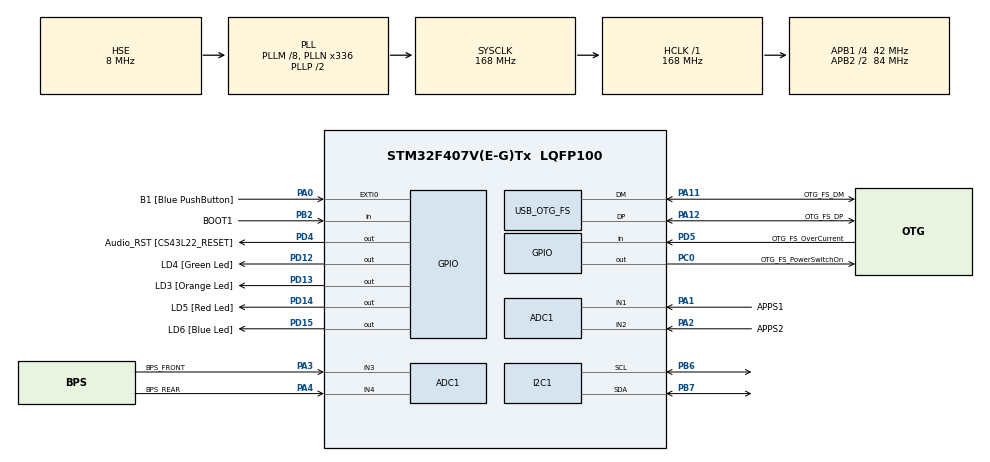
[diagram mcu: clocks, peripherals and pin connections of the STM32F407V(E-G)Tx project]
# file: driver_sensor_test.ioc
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ADC1.Channel-2\#ChannelRegularConversion=ADC_CHANNEL_1
ADC1.NbrOfConversionFlag=1
ADC1.Rank-2\#ChannelRegularConversion=1
ADC1.SamplingTime-2\#ChannelRegularConversion=ADC_SAMPLETIME_3CYCLES
ADC1.master=1
I2C1.I2C_Mode=I2C_Fast
Mcu.Family=STM32F4
Mcu.Name=STM32F407V(E-G)Tx
Mcu.Package=LQFP100
NVIC.OTG_FS_IRQn=true\:0\:0\:false\:false\:true\:true\:true\:true
NVIC.PriorityGroup=NVIC_PRIORITYGROUP_0
PA0-WKUP.GPIO_Label=B1 [Blue PushButton]
PA0-WKUP.GPIO_ModeDefaultEXTI=GPIO_MODE_EVT_RISING
PA0-WKUP.GPIO_PuPd=GPIO_NOPULL
PA0-WKUP.Signal=GPXTI0
PA1.GPIO_Label=APPS1
PA1.Signal=ADCx_IN1
PA11.GPIO_Label=OTG_FS_DM
PA11.GPIO_Mode=GPIO_MODE_AF_PP
PA11.GPIO_PuPd=GPIO_NOPULL
PA11.GPIO_Speed=GPIO_SPEED_FREQ_LOW
PA11.Mode=Device_Only
PA11.Signal=USB_OTG_FS_DM
PA12.GPIO_Label=OTG_FS_DP
PA12.GPIO_Mode=GPIO_MODE_AF_PP
PA12.GPIO_PuPd=GPIO_NOPULL
PA12.GPIO_Speed=GPIO_SPEED_FREQ_LOW
PA12.Mode=Device_Only
PA12.Signal=USB_OTG_FS_DP
PA13.GPIO_Label=SWDIO
PA13.Mode=Trace_Asynchronous_SW
PA13.Signal=SYS_JTMS-SWDIO
PA14.GPIO_Label=SWCLK
PA14.Mode=Trace_Asynchronous_SW
PA14.Signal=SYS_JTCK-SWCLK
PA2.GPIO_Label=APPS2
PA2.Signal=ADCx_IN2
PA3.GPIO_Label=BPS_FRONT
PA3.Signal=ADCx_IN3
PA4.GPIO_Label=BPS_REAR
PA4.Signal=ADCx_IN4
PA9.GPIO_Label=VBUS_FS
PA9.GPIO_Mode=GPIO_MODE_INPUT
PA9.GPIO_PuPd=GPIO_NOPULL
PA9.Signal=USB_OTG_FS_VBUS
PB2.GPIO_Label=BOOT1
PB2.GPIO_Mode=GPIO_MODE_INPUT
PB2.GPIO_PuPd=GPIO_NOPULL
PB2.Signal=GPIO_Input
PB3.GPIO_Label=SWO
PB3.Mode=Trace_Asynchronous_SW
PB3.Signal=SYS_JTDO-SWO
PB6.Mode=I2C
PB6.Signal=I2C1_SCL
PB7.Mode=I2C
PB7.Signal=I2C1_SDA
PC0.GPIO_Label=OTG_FS_PowerSwitchOn
PC0.GPIO_PuPd=GPIO_NOPULL
PC0.GPIO_Speed=GPIO_SPEED_FREQ_LOW
PC0.PinState=GPIO_PIN_SET
PC0.Signal=GPIO_Output
PC14-OSC32_IN.GPIO_Label=PC14-OSC32_IN
PC14-OSC32_IN.Mode=LSE-External-Oscillator
PC14-OSC32_IN.Signal=RCC_OSC32_IN
PC15-OSC32_OUT.GPIO_Label=PC15-OSC32_OUT
PC15-OSC32_OUT.Mode=LSE-External-Oscillator
PC15-OSC32_OUT.Signal=RCC_OSC32_OUT
PD12.GPIO_Label=LD4 [Green Led]
PD12.GPIO_PuPd=GPIO_NOPULL
PD12.GPIO_Speed=GPIO_SPEED_FREQ_LOW
PD12.Signal=GPIO_Output
PD13.GPIO_Label=LD3 [Orange Led]
PD13.GPIO_PuPd=GPIO_NOPULL
PD13.GPIO_Speed=GPIO_SPEED_FREQ_LOW
PD13.Signal=GPIO_Output
PD14.GPIO_Label=LD5 [Red Led]
PD14.GPIO_PuPd=GPIO_NOPULL
PD14.GPIO_Speed=GPIO_SPEED_FREQ_LOW
PD14.Signal=GPIO_Output
PD15.GPIO_Label=LD6 [Blue Led]
PD15.GPIO_PuPd=GPIO_NOPULL
PD15.GPIO_Speed=GPIO_SPEED_FREQ_LOW
PD15.Signal=GPIO_Output
PD4.GPIO_Label=Audio_RST [CS43L22_RESET]
PD4.GPIO_PuPd=GPIO_NOPULL
PD4.GPIO_Speed=GPIO_SPEED_FREQ_LOW
PD4.Signal=GPIO_Output
PD5.GPIO_Label=OTG_FS_OverCurrent
PD5.GPIO_Mode=GPIO_MODE_INPUT
PD5.GPIO_PuPd=GPIO_NOPULL
PD5.Signal=GPIO_Input
PH0-OSC_IN.GPIO_Label=PH0-OSC_IN
PH0-OSC_IN.Mode=HSE-External-Oscillator
PH0-OSC_IN.Signal=RCC_OSC_IN
PH1-OSC_OUT.GPIO_Label=PH1-OSC_OUT
PH1-OSC_OUT.Mode=HSE-External-Oscillator
PH1-OSC_OUT.Signal=RCC_OSC_OUT
ProjectManager.HeapSize=0x600
ProjectManager.StackSize=0x400
ProjectManager.TargetToolchain=STM32CubeIDE
RCC.48MHZClocksFreq_Value=48000000
RCC.AHBFreq_Value=168000000
RCC.APB1CLKDivider=RCC_HCLK_DIV4
RCC.APB1Freq_Value=42000000
RCC.APB1TimFreq_Value=84000000
RCC.APB2CLKDivider=RCC_HCLK_DIV2
RCC.APB2Freq_Value=84000000
RCC.APB2TimFreq_Value=168000000
RCC.CortexFreq_Value=168000000
RCC.HCLKFreq_Value=168000000
RCC.HSE_VALUE=8000000
RCC.HSI_VALUE=16000000
RCC.PLLM=8
RCC.PLLN=336
RCC.PLLQ=7
RCC.SYSCLKFreq_VALUE=168000000
RCC.SYSCLKSource=RCC_SYSCLKSOURCE_PLLCLK
RCC.VCOOutputFreq_Value=336000000
SH.ADCx_IN1.0=ADC1_IN1,IN1
SH.ADCx_IN2.0=ADC1_IN2,IN2
SH.ADCx_IN3.0=ADC1_IN3,IN3
SH.ADCx_IN4.0=ADC1_IN4,IN4
USB_DEVICE.CLASS_NAME_FS=CDC
USB_DEVICE.VirtualMode-CDC_FS=Cdc
USB_DEVICE.VirtualModeFS=Cdc_FS
USB_OTG_FS.VirtualMode=Device_Only
VP_USB_DEVICE_VS_USB_DEVICE_CDC_FS.Mode=CDC_FS
board=STM32F407G-DISC1

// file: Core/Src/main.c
/* USER CODE BEGIN Header */
/**
  ******************************************************************************
  * @file           : main.c
  * @brief          : Main program body
  ******************************************************************************
  * @attention
  *
  * Copyright (c) 2024 STMicroelectronics.
  * All rights reserved.
  *
  * This software is licensed under terms that can be found in the LICENSE file
  * in the root directory of this software component.
  * If no LICENSE file comes with this software, it is provided AS-IS.
  *
  ******************************************************************************
  */
/* USER CODE END Header */
#include "main.h"
#include "usb_device.h"

/* USER CODE BEGIN Includes */
#include "stdio.h"
#include "stdbool.h"
#include "usbd_cdc_if.h"
#include "driver_sensors.h"

/* USER CODE END Includes */

ADC_HandleTypeDef hadc1;

I2C_HandleTypeDef hi2c1;

void SystemClock_Config(void);
static void MX_GPIO_Init(void);
static void MX_ADC1_Init(void);
static void MX_I2C1_Init(void);

/* USER CODE BEGIN 0 */

/*
 * Function for using printf over ITM
 */
int _write(int file, char *ptr, int len)
{
	int i = 0;
	for (i = 0; i<len; i++)
	{
		ITM_SendChar((*ptr++));
	}
	return len;
}

uint16_t count;

/* USER CODE END 0 */

int main(void)
{

  /* USER CODE BEGIN 1 */
	APPSSensor_t apps;
	BPSSensor_t bps_f;
	BPSSensor_t bps_r;
	SteeringAngleSensor_t steering_angle;

  /* USER CODE END 1 */

  /* MCU Configuration--------------------------------------------------------*/

  /* Reset of all peripherals, Initializes the Flash interface and the Systick. */
  HAL_Init();

  /* Configure the system clock */
  SystemClock_Config();

  /* Initialize all configured peripherals */
  MX_GPIO_Init();
  MX_ADC1_Init();
  MX_USB_DEVICE_Init();
  MX_I2C1_Init();

  /* Infinite loop */
  while (1)
  {

    /* USER CODE BEGIN 3 */
	  // Heart beat
	  HAL_GPIO_TogglePin(GPIOD, LD3_Pin);

	  // Read APPS sensor
	  read_driver_input(&hadc1);
	  apps = get_apps_data();
	  bps_f = get_bps_front_data();
	  bps_r = get_bps_rear_data();
	  steering_angle = get_steering_angle_data();

	  // Format data to send over USB
	  char msg_buffer[1024];

	  uint16_t length = snprintf(msg_buffer, sizeof(msg_buffer),
			  "\nAccelerator Pedal:\n"
			  "- Raw Value 1: %u\n"
			  "- Raw Value 2: %u\n"
			  "- Voltage 1: %u mV\n"
			  "- Voltage 2: %u mV\n"
			  "- Pedal Percentage: %u percent * 10\n"
			  "- Channel 1: %u percent * 10\n"
			  "- Channel 2: %u percent * 10\n"
			  "- APPS Plausibility: %d\n"
			  "\n"
			  "Brake Pressure:\n"
			  "- Raw Value Front: %u\n"
			  "- Raw Value Rear: %u\n"
			  "- Voltage Front: %u mV\n"
			  "- Voltage Rear: %u mV\n"
			  "- Pressure Front: %u PSI\n"
			  "- Pressure Rear: %u PSI\n"
			  "- Plausibility Front: %d\n"
			  "- Plausibility Rear: %d\n"
			  "\n"
			  "Steering Angle:\n"
			  "- Device status: %u\n"
			  "- Angle: %u radians * 1000\n"
			  "- Plausibility Front: %d\n",
			  apps.raw_value_1,
			  apps.raw_value_2,
			  apps.voltage_1,
			  apps.voltage_2,
			  apps.percent,
			  apps.percent_1,
			  apps.percent_2,
			  (uint8_t)apps.plausible,

			  bps_f.raw_value,
			  bps_r.raw_value,
			  bps_f.voltage,
			  bps_r.voltage,
			  bps_f.pressure,
			  bps_r.pressure,
			  (uint8_t)bps_f.plausible,
			  (uint8_t)bps_r.plausible,

			  steering_angle.i2c_device.device_status,
			  steering_angle.angle,
			  (uint8_t)steering_angle.plausible);

	  // Ensure snprintf was successful and message length is valid
	  if (length > 0 && length < sizeof(msg_buffer)) {
	      // Send only the formatted message length over USB
	      CDC_Transmit_FS((uint8_t *)msg_buffer, length);
	  } else {
	      // Handle error in formatting or length (optional)
	  }

	  HAL_Delay(50);
  }
  /* USER CODE END 3 */
}

void SystemClock_Config(void)
{
  RCC_OscInitTypeDef RCC_OscInitStruct = {0};
  RCC_ClkInitTypeDef RCC_ClkInitStruct = {0};

  /** Configure the main internal regulator output voltage
  */
  __HAL_RCC_PWR_CLK_ENABLE();
  __HAL_PWR_VOLTAGESCALING_CONFIG(PWR_REGULATOR_VOLTAGE_SCALE1);

  /** Initializes the RCC Oscillators according to the specified parameters
  * in the RCC_OscInitTypeDef structure.
  */
  RCC_OscInitStruct.OscillatorType = RCC_OSCILLATORTYPE_HSE;
  RCC_OscInitStruct.HSEState = RCC_HSE_ON;
  RCC_OscInitStruct.PLL.PLLState = RCC_PLL_ON;
  RCC_OscInitStruct.PLL.PLLSource = RCC_PLLSOURCE_HSE;
  RCC_OscInitStruct.PLL.PLLM = 8;
  RCC_OscInitStruct.PLL.PLLN = 336;
  RCC_OscInitStruct.PLL.PLLP = RCC_PLLP_DIV2;
  RCC_OscInitStruct.PLL.PLLQ = 7;
  if (HAL_RCC_OscConfig(&RCC_OscInitStruct) != HAL_OK)
  {
    Error_Handler();
  }

  /** Initializes the CPU, AHB and APB buses clocks
  */
  RCC_ClkInitStruct.ClockType = RCC_CLOCKTYPE_HCLK|RCC_CLOCKTYPE_SYSCLK
                              |RCC_CLOCKTYPE_PCLK1|RCC_CLOCKTYPE_PCLK2;
  RCC_ClkInitStruct.SYSCLKSource = RCC_SYSCLKSOURCE_PLLCLK;
  RCC_ClkInitStruct.AHBCLKDivider = RCC_SYSCLK_DIV1;
  RCC_ClkInitStruct.APB1CLKDivider = RCC_HCLK_DIV4;
  RCC_ClkInitStruct.APB2CLKDivider = RCC_HCLK_DIV2;

  if (HAL_RCC_ClockConfig(&RCC_ClkInitStruct, FLASH_LATENCY_5) != HAL_OK)
  {
    Error_Handler();
  }
}

static void MX_ADC1_Init(void)
{

  ADC_ChannelConfTypeDef sConfig = {0};

  /** Configure the global features of the ADC (Clock, Resolution, Data Alignment and number of conversion)
  */
  hadc1.Instance = ADC1;
  hadc1.Init.ClockPrescaler = ADC_CLOCK_SYNC_PCLK_DIV4;
  hadc1.Init.Resolution = ADC_RESOLUTION_12B;
  hadc1.Init.ScanConvMode = DISABLE;
  hadc1.Init.ContinuousConvMode = DISABLE;
  hadc1.Init.DiscontinuousConvMode = DISABLE;
  hadc1.Init.ExternalTrigConvEdge = ADC_EXTERNALTRIGCONVEDGE_NONE;
  hadc1.Init.ExternalTrigConv = ADC_SOFTWARE_START;
  hadc1.Init.DataAlign = ADC_DATAALIGN_RIGHT;
  hadc1.Init.NbrOfConversion = 1;
  hadc1.Init.DMAContinuousRequests = DISABLE;
  hadc1.Init.EOCSelection = ADC_EOC_SINGLE_CONV;
  if (HAL_ADC_Init(&hadc1) != HAL_OK)
  {
    Error_Handler();
  }

  /** Configure for the selected ADC regular channel its corresponding rank in the sequencer and its sample time.
  */
  sConfig.Channel = ADC_CHANNEL_1;
  sConfig.Rank = 1;
  sConfig.SamplingTime = ADC_SAMPLETIME_3CYCLES;
  if (HAL_ADC_ConfigChannel(&hadc1, &sConfig) != HAL_OK)
  {
    Error_Handler();
  }

}

static void MX_I2C1_Init(void)
{

  hi2c1.Instance = I2C1;
  hi2c1.Init.ClockSpeed = 400000;
  hi2c1.Init.DutyCycle = I2C_DUTYCYCLE_2;
  hi2c1.Init.OwnAddress1 = 0;
  hi2c1.Init.AddressingMode = I2C_ADDRESSINGMODE_7BIT;
  hi2c1.Init.DualAddressMode = I2C_DUALADDRESS_DISABLE;
  hi2c1.Init.OwnAddress2 = 0;
  hi2c1.Init.GeneralCallMode = I2C_GENERALCALL_DISABLE;
  hi2c1.Init.NoStretchMode = I2C_NOSTRETCH_DISABLE;
  if (HAL_I2C_Init(&hi2c1) != HAL_OK)
  {
    Error_Handler();
  }

}

static void MX_GPIO_Init(void)
{
  GPIO_InitTypeDef GPIO_InitStruct = {0};

  /* GPIO Ports Clock Enable */
  __HAL_RCC_GPIOC_CLK_ENABLE();
  __HAL_RCC_GPIOH_CLK_ENABLE();
  __HAL_RCC_GPIOA_CLK_ENABLE();
  __HAL_RCC_GPIOB_CLK_ENABLE();
  __HAL_RCC_GPIOD_CLK_ENABLE();

  /*Configure GPIO pin Output Level */
  HAL_GPIO_WritePin(OTG_FS_PowerSwitchOn_GPIO_Port, OTG_FS_PowerSwitchOn_Pin, GPIO_PIN_SET);

  /*Configure GPIO pin Output Level */
  HAL_GPIO_WritePin(GPIOD, LD4_Pin|LD3_Pin|LD5_Pin|LD6_Pin
                          |Audio_RST_Pin, GPIO_PIN_RESET);

  /*Configure GPIO pin : OTG_FS_PowerSwitchOn_Pin */
  GPIO_InitStruct.Pin = OTG_FS_PowerSwitchOn_Pin;
  GPIO_InitStruct.Mode = GPIO_MODE_OUTPUT_PP;
  GPIO_InitStruct.Pull = GPIO_NOPULL;
  GPIO_InitStruct.Speed = GPIO_SPEED_FREQ_LOW;
  HAL_GPIO_Init(OTG_FS_PowerSwitchOn_GPIO_Port, &GPIO_InitStruct);

  /*Configure GPIO pin : B1_Pin */
  GPIO_InitStruct.Pin = B1_Pin;
  GPIO_InitStruct.Mode = GPIO_MODE_EVT_RISING;
  GPIO_InitStruct.Pull = GPIO_NOPULL;
  HAL_GPIO_Init(B1_GPIO_Port, &GPIO_InitStruct);

  /*Configure GPIO pin : BOOT1_Pin */
  GPIO_InitStruct.Pin = BOOT1_Pin;
  GPIO_InitStruct.Mode = GPIO_MODE_INPUT;
  GPIO_InitStruct.Pull = GPIO_NOPULL;
  HAL_GPIO_Init(BOOT1_GPIO_Port, &GPIO_InitStruct);

  /*Configure GPIO pins : LD4_Pin LD3_Pin LD5_Pin LD6_Pin
                           Audio_RST_Pin */
  GPIO_InitStruct.Pin = LD4_Pin|LD3_Pin|LD5_Pin|LD6_Pin
                          |Audio_RST_Pin;
  GPIO_InitStruct.Mode = GPIO_MODE_OUTPUT_PP;
  GPIO_InitStruct.Pull = GPIO_NOPULL;
  GPIO_InitStruct.Speed = GPIO_SPEED_FREQ_LOW;
  HAL_GPIO_Init(GPIOD, &GPIO_InitStruct);

  /*Configure GPIO pin : OTG_FS_OverCurrent_Pin */
  GPIO_InitStruct.Pin = OTG_FS_OverCurrent_Pin;
  GPIO_InitStruct.Mode = GPIO_MODE_INPUT;
  GPIO_InitStruct.Pull = GPIO_NOPULL;
  HAL_GPIO_Init(OTG_FS_OverCurrent_GPIO_Port, &GPIO_InitStruct);

}

void Error_Handler(void)
{
  __disable_irq();
  while (1)
  {
  }
}
